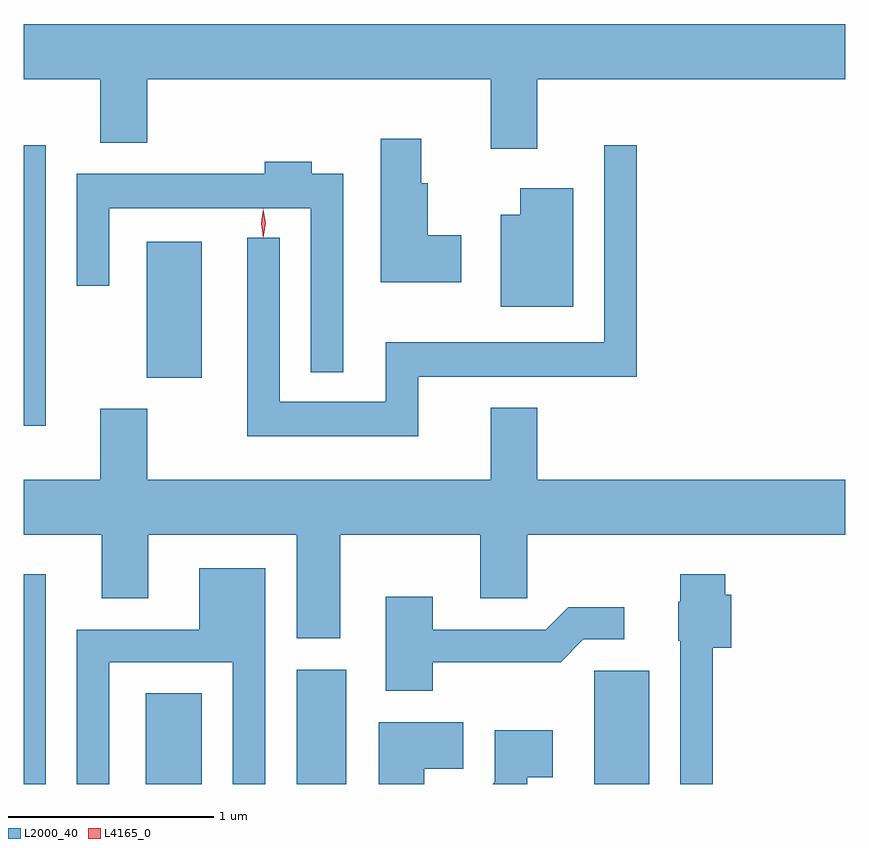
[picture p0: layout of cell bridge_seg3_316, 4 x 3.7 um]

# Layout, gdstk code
import gdstk
lib = gdstk.Library(unit=1e-6, precision=1e-09)
def R(c, l, rs):  # rectangles x0, y0, x1, y1
    for r in rs: c.add(gdstk.rectangle(r[:2], r[2:], *l))
def P(c, l, *ps):  # polygons
    for p in ps: c.add(gdstk.Polygon(p, *l))
L2000_40 = (2000, 40)
L4165_0 = (4165, 0)

bridge_seg3_316 = lib.new_cell('bridge_seg3_316')
R(bridge_seg3_316, L2000_40, [(570.608,1140.342,570.714,1141.364), (571.201,1140.342,571.474,1140.784), (571.936,1140.342,572.179,1140.899), (573.386,1140.342,573.654,1140.894), (570.608,1142.086,570.714,1143.453), (571.206,1142.321,571.474,1142.984)])
P(bridge_seg3_316, L2000_40, [(573.109,1143.776),(574.608,1143.776),(574.608,1144.044),(570.608,1144.044),(570.608,1143.776),(570.981,1143.776),(570.981,1143.466),(571.209,1143.466),(571.209,1143.776),(572.881,1143.776),(572.881,1143.436),(573.109,1143.436)],
  [(572.739,1143.014),(572.574,1143.014),(572.574,1143.269),(572.544,1143.269),(572.544,1143.484),(572.346,1143.484),(572.346,1142.786),(572.739,1142.786)],
  [(572.529,1142.326),(573.594,1142.326),(573.594,1143.453),(573.436,1143.453),(573.436,1142.494),(572.371,1142.494),(572.371,1142.204),(571.854,1142.204),(571.854,1143.003),(571.696,1143.003),(571.696,1142.036),(572.529,1142.036)],
  [(572.164,1143.314),(572.009,1143.314),(572.009,1143.374),(571.781,1143.374),(571.781,1143.314),(570.866,1143.314),(570.866,1142.768),(571.024,1142.768),(571.024,1143.146),(572.006,1143.146),(572.006,1142.348),(572.164,1142.348)],
  [(573.284,1143.244),(573.026,1143.244),(573.026,1143.114),(572.931,1143.114),(572.931,1142.666),(573.284,1142.666)],
  [(572.149,1141.556),(572.831,1141.556),(572.831,1141.246),(573.059,1141.246),(573.059,1141.556),(574.608,1141.556),(574.608,1141.824),(573.109,1141.824),(573.109,1142.174),(572.881,1142.174),(572.881,1141.824),(571.209,1141.824),(571.209,1142.169),(570.981,1142.169),(570.981,1141.824),(570.608,1141.824),(570.608,1141.556),(570.986,1141.556),(570.986,1141.246),(571.214,1141.246),(571.214,1141.556),(571.936,1141.556),(571.936,1141.051),(572.149,1141.051)],
  [(571.024,1140.936),(571.626,1140.936),(571.626,1140.342),(571.784,1140.342),(571.784,1141.394),(571.461,1141.394),(571.461,1141.094),(570.866,1141.094),(570.866,1140.342),(571.024,1140.342)],
  [(573.964,1141.006),(574.054,1141.006),(574.054,1141.264),(574.024,1141.264),(574.024,1141.364),(573.806,1141.364),(573.806,1141.23),(573.796,1141.23),(573.796,1141.04),(573.806,1141.04),(573.806,1140.342),(573.964,1140.342)],
  [(572.599,1140.936),(573.222,1140.936),(573.332,1141.046),(573.533,1141.046),(573.533,1141.204),(573.259,1141.204),(573.149,1141.094),(572.599,1141.094),(572.599,1141.254),(572.371,1141.254),(572.371,1140.796),(572.599,1140.796)],
  [(572.559,1140.416),(572.749,1140.416),(572.749,1140.644),(572.336,1140.644),(572.336,1140.342),(572.559,1140.342)],
  [(573.059,1140.376),(573.184,1140.376),(573.184,1140.604),(572.901,1140.604),(572.901,1140.352),(572.891,1140.342),(573.059,1140.342)])
P(bridge_seg3_316, L4165_0, [(571.773,1143.007),(571.764,1143.074),(571.773,1143.14),(571.774,1143.14),(571.774,1143.14),(571.783,1143.074),(571.774,1143.007),(571.774,1143.007)],
  [(571.774,1143.004),(571.765,1143.073),(571.774,1143.142),(571.775,1143.143),(571.775,1143.142),(571.785,1143.073),(571.775,1143.004),(571.775,1143.004)])

lib.write_gds('bridge_seg3_316.gds')
